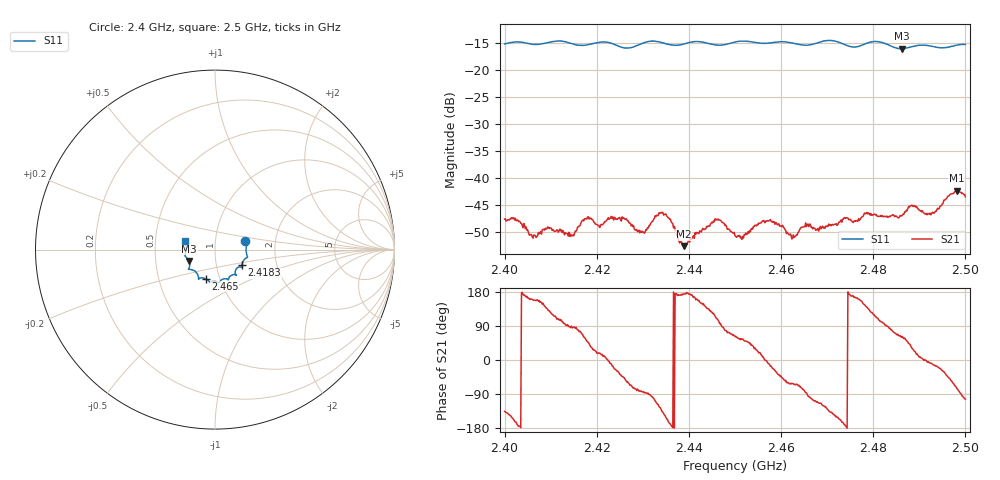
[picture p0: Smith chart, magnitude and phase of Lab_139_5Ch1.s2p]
# Hz S RI R 50
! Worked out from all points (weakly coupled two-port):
!   601 points, 2.4 GHz to 2.5 GHz, reference 50 ohm
!   highest |S21| = -42.39 dB at 2.4982 GHz (marker M1); lowest = -52.7 dB at 2.4388 GHz (marker M2)
!   lowest |S11| = -16.0 dB at 2.4862 GHz (marker M3), VSWR 1.37, Z = 37.1 - j4.82 ohm
!   |S11| at or under -10 dB: start of sweep to end of sweep
!   S12 and S22 are empty: the file has one direction only
!   S11 on the Smith chart (normalised r, x): 2.4 GHz: 1.40, +0.13; 2.4183 GHz: 1.33, -0.24; 2.465 GHz: 0.86, -0.29; 2.5 GHz: 0.71, +0.07
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2.4e9  0.169 0.0459  -0.00297 -0.00289  0 0  0 0
2.4065e9  0.1729 0.00296  -0.00271 0.00109  0 0  0 0
2.414667e9  0.1679 -0.0506  0.000261 0.00288  0 0  0 0
2.416667e9  0.1549 -0.0683  0.0013 0.00369  0 0  0 0
2.418333e9  0.1497 -0.0868  0.00302 0.00285  0 0  0 0
2.426e9  0.1252 -0.1008  0.00281 -0.00309  0 0  0 0
2.429833e9  0.1136 -0.1355  0.000332 -0.00318  0 0  0 0
2.433333e9  0.1168 -0.1413  -0.00206 -0.00395  0 0  0 0
2.4355e9  0.1039 -0.1391  -0.00406 -0.00132  0 0  0 0
2.438833e9  0.0782 -0.1559  -0.00231 0.000258  0 0  0 0
2.446167e9  0.0515 -0.1628  -0.00127 0.00385  0 0  0 0
2.45e9  0.0251 -0.1805  0.00137 0.00257  0 0  0 0
2.457167e9  -0.0115 -0.1775  0.00393 -0.000609  0 0  0 0
2.462667e9  -0.0347 -0.1743  0.00136 -0.00262  0 0  0 0
2.465e9  -0.0528 -0.1621  0.000609 -0.00346  0 0  0 0
2.466667e9  -0.0713 -0.1576  -0.00074 -0.00341  0 0  0 0
2.483333e9  -0.1421 -0.0956  0.00024 0.00433  0 0  0 0
2.486167e9  -0.1445 -0.0633  0.00223 0.00382  0 0  0 0
2.4885e9  -0.1598 -0.0433  0.0048 0.00279  0 0  0 0
2.493e9  -0.1644 -0.0194  0.00464 -0.00102  0 0  0 0
2.498167e9  -0.1666 0.0375  0.00188 -0.00736  0 0  0 0
2.5e9  -0.1664 0.0474  -0.00154 -0.00649  0 0  0 0
